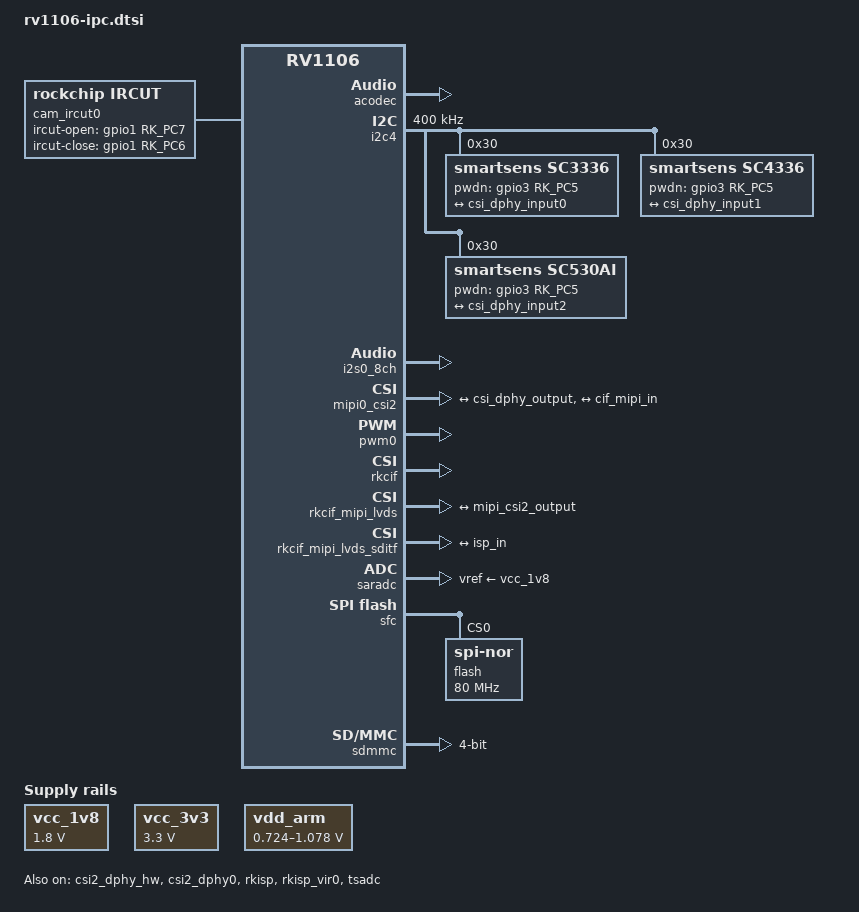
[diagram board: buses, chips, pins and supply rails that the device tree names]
// SPDX-License-Identifier: (GPL-2.0+ OR MIT)
/*
 * Copyright (c) 2022 Rockchip Electronics Co., Ltd.
 */
#include "rv1106-amp.dtsi"

/ {
	chosen {
		bootargs = "earlycon=uart8250,mmio32,0xff4c0000 console=ttyFIQ0 rootwait snd_soc_core.prealloc_buffer_size_kbytes=16 coherent_pool=0";
	};

	acodec_sound: acodec-sound {
		compatible = "simple-audio-card";
		simple-audio-card,name = "rv-acodec";
		simple-audio-card,format = "i2s";
		simple-audio-card,mclk-fs = <256>;
		simple-audio-card,cpu {
			sound-dai = <&i2s0_8ch>;
		};
		simple-audio-card,codec {
			sound-dai = <&acodec>;
		};
	};

	cam_ircut0: cam_ircut {
		status = "okay";
		compatible = "rockchip,ircut";
		ircut-open-gpios = <&gpio1 RK_PC7 GPIO_ACTIVE_HIGH>;
		ircut-close-gpios  = <&gpio1 RK_PC6 GPIO_ACTIVE_HIGH>;
		rockchip,camera-module-index = <0>;
		rockchip,camera-module-facing = "back";
	};

	vcc_1v8: vcc-1v8 {
		compatible = "regulator-fixed";
		regulator-name = "vcc_1v8";
		regulator-always-on;
		regulator-boot-on;
		regulator-min-microvolt = <1800000>;
		regulator-max-microvolt = <1800000>;
	};

	vcc_3v3: vcc-3v3 {
		compatible = "regulator-fixed";
		regulator-name = "vcc_3v3";
		regulator-always-on;
		regulator-boot-on;
		regulator-min-microvolt = <3300000>;
		regulator-max-microvolt = <3300000>;
	};

	vdd_arm: vdd-arm {
		compatible = "pwm-regulator";
		pwms = <&pwm0 0 5000 1>;
		regulator-name = "vdd_arm";
		regulator-min-microvolt = <724000>;
		regulator-max-microvolt = <1078000>;
		regulator-init-microvolt = <950000>;
		regulator-always-on;
		regulator-boot-on;
		regulator-settling-time-up-us = <250>;
	};
};

&acodec {
	#sound-dai-cells = <0>;
	pa-ctl-gpios = <&gpio1 RK_PA1 GPIO_ACTIVE_HIGH>;
	status = "okay";
};

&cpu0 {
	cpu-supply = <&vdd_arm>;
};

&csi2_dphy_hw {
	status = "okay";
};

&csi2_dphy0 {
	status = "okay";

	ports {
		#address-cells = <1>;
		#size-cells = <0>;

		port@0 {
			reg = <0>;
			#address-cells = <1>;
			#size-cells = <0>;

			csi_dphy_input0: endpoint@0 {
				reg = <0>;
				remote-endpoint = <&sc3336_out>;
				data-lanes = <1 2>;
			};

			csi_dphy_input1: endpoint@1 {
				reg = <1>;
				remote-endpoint = <&sc4336_out>;
				data-lanes = <1 2>;
			};

			csi_dphy_input2: endpoint@2 {
				reg = <2>;
				remote-endpoint = <&sc530ai_out>;
				data-lanes = <1 2>;
			};
		};

		port@1 {
			reg = <1>;
			#address-cells = <1>;
			#size-cells = <0>;

			csi_dphy_output: endpoint@0 {
				reg = <0>;
				remote-endpoint = <&mipi_csi2_input>;
			};
		};
	};
};

&i2c4 {
	status = "okay";
	clock-frequency = <400000>;
	pinctrl-names = "default";
	pinctrl-0 = <&i2c4m2_xfer>;

	sc3336: sc3336@30 {
		compatible = "smartsens,sc3336";
		status = "okay";
		reg = <0x30>;
		clocks = <&cru MCLK_REF_MIPI0>;
		clock-names = "xvclk";
		pwdn-gpios = <&gpio3 RK_PC5 GPIO_ACTIVE_HIGH>;
		pinctrl-names = "default";
		pinctrl-0 = <&mipi_refclk_out0>;
		rockchip,camera-module-index = <0>;
		rockchip,camera-module-facing = "back";
		rockchip,camera-module-name = "CMK-OT2119-PC1";
		rockchip,camera-module-lens-name = "30IRC-F16";
		port {
			sc3336_out: endpoint {
				remote-endpoint = <&csi_dphy_input0>;
				data-lanes = <1 2>;
			};
		};
	};

	sc4336: sc4336@30 {
		compatible = "smartsens,sc4336";
		status = "okay";
		reg = <0x30>;
		clocks = <&cru MCLK_REF_MIPI0>;
		clock-names = "xvclk";
		pwdn-gpios = <&gpio3 RK_PC5 GPIO_ACTIVE_HIGH>;
		pinctrl-names = "default";
		pinctrl-0 = <&mipi_refclk_out0>;
		lens-focus = <&cam_ircut0>;
		rockchip,camera-module-index = <0>;
		rockchip,camera-module-facing = "back";
		rockchip,camera-module-name = "OT01";
		rockchip,camera-module-lens-name = "40IRC_F16";
		port {
			sc4336_out: endpoint {
				remote-endpoint = <&csi_dphy_input1>;
				data-lanes = <1 2>;
			};
		};
	};

	sc530ai: sc530ai@30 {
		compatible = "smartsens,sc530ai";
		status = "okay";
		reg = <0x30>;
		clocks = <&cru MCLK_REF_MIPI0>;
		clock-names = "xvclk";
		pwdn-gpios = <&gpio3 RK_PC5 GPIO_ACTIVE_HIGH>;
		pinctrl-names = "default";
		pinctrl-0 = <&mipi_refclk_out0>;
		rockchip,camera-module-index = <0>;
		rockchip,camera-module-facing = "back";
		rockchip,camera-module-name = "CMK-OT2115-PC1";
		rockchip,camera-module-lens-name = "30IRC-F16";
		port {
			sc530ai_out: endpoint {
				remote-endpoint = <&csi_dphy_input2>;
				data-lanes = <1 2>;
			};
		};
	};
};

&i2s0_8ch {
	#sound-dai-cells = <0>;
	status = "okay";
};

&mipi0_csi2 {
	status = "okay";

	ports {
		#address-cells = <1>;
		#size-cells = <0>;

		port@0 {
			reg = <0>;
			#address-cells = <1>;
			#size-cells = <0>;

			mipi_csi2_input: endpoint@1 {
				reg = <1>;
				remote-endpoint = <&csi_dphy_output>;
			};
		};

		port@1 {
			reg = <1>;
			#address-cells = <1>;
			#size-cells = <0>;

			mipi_csi2_output: endpoint@0 {
				reg = <0>;
				remote-endpoint = <&cif_mipi_in>;
			};
		};
	};
};

&pwm0 {
	status = "okay";
};

&rkcif {
	status = "okay";
};

&rkcif_mipi_lvds {
	status = "okay";

	pinctrl-names = "default";
	pinctrl-0 = <&mipi_pins>;
	port {
		/* MIPI CSI-2 endpoint */
		cif_mipi_in: endpoint {
			remote-endpoint = <&mipi_csi2_output>;
		};
	};
};

&rkcif_mipi_lvds_sditf {
	status = "okay";

	port {
		/* MIPI CSI-2 endpoint */
		mipi_lvds_sditf: endpoint {
			remote-endpoint = <&isp_in>;
		};
	};
};

&rkisp {
	status = "okay";
};

&rkisp_vir0 {
	status = "okay";

	port@0 {
		isp_in: endpoint {
			remote-endpoint = <&mipi_lvds_sditf>;
		};
	};
};

&saradc {
	status = "okay";
	vref-supply = <&vcc_1v8>;
};

&sfc {
	status = "okay";

	flash@0 {
		compatible = "jedec,spi-nor";
		reg = <0>;
		spi-max-frequency = <80000000>;
		spi-rx-bus-width = <4>;
		spi-tx-bus-width = <1>;
	};
};

&sdmmc {
	max-frequency = <50000000>;
	no-sdio;
	no-mmc;
	bus-width = <4>;
	cap-mmc-highspeed;
	cap-sd-highspeed;
	disable-wp;
	pinctrl-names = "default";
	pinctrl-0 = <&sdmmc0_clk &sdmmc0_cmd &sdmmc0_det &sdmmc0_bus4>;
	status = "okay";
};

&tsadc {
	status = "okay";
};

&u2phy {
	status = "disabled";
};

&u2phy_otg {
	status = "disabled";
};

&usbdrd {
	status = "disabled";
};

&usbdrd_dwc3 {
	status = "disabled";
};
